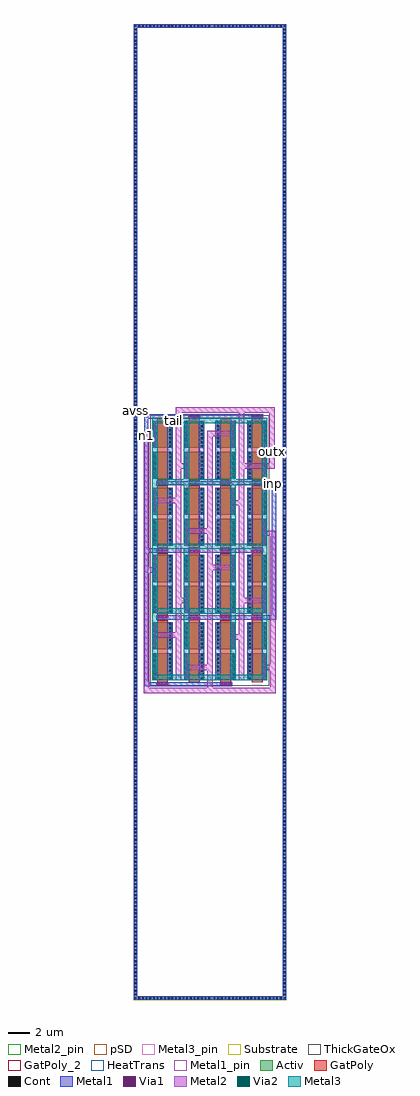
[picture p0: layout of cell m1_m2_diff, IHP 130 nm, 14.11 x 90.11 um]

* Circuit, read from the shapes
.subckt m1_m2_diff avss inn inp n1 outx tail
XM1 n2 inn tail avss sg13_hv_nmos w=2.5u l=1u
XM2 n2 inn outx avss sg13_hv_nmos w=2.5u l=1u
XM3 n3 inp tail avss sg13_hv_nmos w=2.5u l=1u
XM4 n3 inp n1 avss sg13_hv_nmos w=2.5u l=1u
XM5 n4 inn tail avss sg13_hv_nmos w=2.5u l=1u
XM6 n4 inn outx avss sg13_hv_nmos w=2.5u l=1u
XM7 n5 inp tail avss sg13_hv_nmos w=2.5u l=1u
XM8 n5 inp n1 avss sg13_hv_nmos w=2.5u l=1u
XM9 n6 inp n1 avss sg13_hv_nmos w=2.5u l=1u
XM10 n6 inp tail avss sg13_hv_nmos w=2.5u l=1u
XM11 n7 inn outx avss sg13_hv_nmos w=2.5u l=1u
XM12 n7 inn tail avss sg13_hv_nmos w=2.5u l=1u
XM13 n8 inp n1 avss sg13_hv_nmos w=2.5u l=1u
XM14 n8 inp tail avss sg13_hv_nmos w=2.5u l=1u
XM15 n9 inn outx avss sg13_hv_nmos w=2.5u l=1u
XM16 n9 inn tail avss sg13_hv_nmos w=2.5u l=1u
XM17 tail inn n10 avss sg13_hv_nmos w=2.5u l=1u
XM18 outx inn n10 avss sg13_hv_nmos w=2.5u l=1u
XM19 tail inp n11 avss sg13_hv_nmos w=2.5u l=1u
XM20 n1 inp n11 avss sg13_hv_nmos w=2.5u l=1u
XM21 tail inn n12 avss sg13_hv_nmos w=2.5u l=1u
XM22 outx inn n12 avss sg13_hv_nmos w=2.5u l=1u
XM23 tail inp n13 avss sg13_hv_nmos w=2.5u l=1u
XM24 n1 inp n13 avss sg13_hv_nmos w=2.5u l=1u
XM25 outx inn n14 avss sg13_hv_nmos w=2.5u l=1u
XM26 tail inn n14 avss sg13_hv_nmos w=2.5u l=1u
XM27 n1 inp n15 avss sg13_hv_nmos w=2.5u l=1u
XM28 tail inp n15 avss sg13_hv_nmos w=2.5u l=1u
XM29 outx inn n16 avss sg13_hv_nmos w=2.5u l=1u
XM30 tail inn n16 avss sg13_hv_nmos w=2.5u l=1u
XM31 n1 inp n17 avss sg13_hv_nmos w=2.5u l=1u
XM32 tail inp n17 avss sg13_hv_nmos w=2.5u l=1u
.ends

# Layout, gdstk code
from math import pi, radians
import gdstk
lib = gdstk.Library(unit=1e-6, precision=1e-09)
def R(c, l, rs):  # rectangles x0, y0, x1, y1
    for r in rs: c.add(gdstk.rectangle(r[:2], r[2:], *l))
def A(c, l, x, y, w, h, nx, ny, dx, dy):  # array of equal rectangles
    R(c, l, [(x+i*dx, y+j*dy, x+i*dx+w, y+j*dy+h) for i in range(nx) for j in range(ny)])
def P(c, l, *ps):  # polygons
    for p in ps: c.add(gdstk.Polygon(p, *l))
Activ = (1, 0)
GatPoly = (5, 0)
GatPoly_2 = (5, 2)
Cont = (6, 0)
Metal1 = (8, 0)
Metal1_pin = (8, 2)
Metal2 = (10, 0)
Metal2_pin = (10, 2)
pSD = (14, 0)
Via1 = (19, 0)
Via2 = (29, 0)
Metal3 = (30, 0)
Metal3_pin = (30, 2)
Substrate = (40, 0)
ThickGateOx = (44, 0)
HeatTrans = (51, 0)

nmoshv = lib.new_cell('nmosHV')
R(nmoshv, Activ, [(0,0,0.3,0.3), (0,0,1.68,2.5), (1.38,0,1.68,0.3)])
R(nmoshv, GatPoly, [(0.34,-0.18,1.34,2.68)])
R(nmoshv, GatPoly_2, [(0.34,-0.18,1.34,2.68)])
A(nmoshv, Cont, 0.07, 0.07, 0.16, 0.16, 1, 3, 0, 0.365)
A(nmoshv, Cont, 1.45, 0.07, 0.16, 0.16, 1, 3, 0, 0.365)
A(nmoshv, Cont, 0.07, 1.17, 0.16, 0.16, 1, 3, 0, 0.365)
A(nmoshv, Cont, 1.45, 1.17, 0.16, 0.16, 1, 3, 0, 0.365)
R(nmoshv, Cont, [(0.07,2.27,0.23,2.43), (1.45,2.27,1.61,2.43)])
R(nmoshv, Metal1, [(0.07,0,0.23,2.5), (1.45,0,1.61,2.5)])
R(nmoshv, Metal1_pin, [(0.07,0,0.23,2.5), (1.45,0,1.61,2.5)])
R(nmoshv, ThickGateOx, [(-0.27,-0.52,1.95,3.02)])
R(nmoshv, HeatTrans, [(0.34,-0.18,1.34,2.68)])
nmoshv.add(gdstk.Label('nmosHV', (0.84,1.25), layer=63, texttype=0))
nmoshv.add(gdstk.Label('nmosHV', (0.84,1.25), layer=51, texttype=0))

via_stack_1 = lib.new_cell('via_stack$1')
R(via_stack_1, Metal1, [(-0.105,-1.17,0.105,1.17)])
R(via_stack_1, Metal2, [(-0.1,-1.17,0.1,1.17)])
A(via_stack_1, Via1, -0.095, -1.12, 0.19, 0.19, 1, 6, 0, 0.41)
A(via_stack_1, Via2, -0.095, -1.12, 0.19, 0.19, 1, 6, 0, 0.41)
R(via_stack_1, Metal3, [(-0.1,-1.17,0.1,1.17)])

via_stack = lib.new_cell('via_stack')
R(via_stack, Metal1, [(-0.105,-1.17,0.105,1.17)])
R(via_stack, Metal2, [(-0.1,-1.17,0.1,1.17)])
A(via_stack, Via1, -0.095, -1.12, 0.19, 0.19, 1, 6, 0, 0.41)

via_stack_2 = lib.new_cell('via_stack$2')
R(via_stack_2, GatPoly, [(-0.49,-0.15,0.49,0.15)])
A(via_stack_2, Cont, -0.42, -0.08, 0.16, 0.16, 3, 1, 0.34, 0)
R(via_stack_2, Metal1, [(-0.555,-0.105,0.555,0.105)])
R(via_stack_2, Metal2, [(-0.555,-0.1,0.555,0.1)])
A(via_stack_2, Via1, -0.505, -0.095, 0.19, 0.19, 3, 1, 0.41, 0)

n1_2 = lib.new_cell('n1_2')
R(n1_2, GatPoly, [(0.34,5.54,0.35,5.84), (1.33,5.54,1.34,5.84)])
R(n1_2, GatPoly_2, [(0.73,2.615,0.86,2.745)])
R(n1_2, Metal1_pin, [(0.085,1.265,0.215,1.395), (0.085,4.05,0.215,4.18)])
n1_2.add(gdstk.FlexPath([(1.53,5.36),(1.53,0)], 0.5, ends="flush", simple_path=True, layer=8, datatype=0))  # Metal1
n1_2.add(gdstk.FlexPath([(0.15,2.86),(0.15,5.36)], 0.5, ends="flush", simple_path=True, layer=8, datatype=0))  # Metal1
n1_2.add(gdstk.FlexPath([(0.15,0),(0.15,2.5)], 0.5, ends="flush", simple_path=True, layer=8, datatype=0))  # Metal1
n1_2.add(gdstk.Reference(nmoshv, (0,2.86)))
n1_2.add(gdstk.Reference(nmoshv, (0,0)))
n1_2.add(gdstk.Reference(via_stack_1, (0.15,4.19)))
n1_2.add(gdstk.Reference(via_stack, (0.155,1.17)))
n1_2.add(gdstk.Reference(via_stack_2, (0.84,5.69), rotation=pi))
n1_2.add(gdstk.Label('D', (0.15,1.33), layer=8, texttype=25))
n1_2.add(gdstk.Label('S', (0.15,4.115), layer=8, texttype=25))
n1_2.add(gdstk.Label('G', (0.795,2.68), layer=5, texttype=1))

m1_m2_array = lib.new_cell('m1_m2_array')
R(m1_m2_array, Metal1, [(7.22,-0.54,7.405,-0.22), (0.02,17.98,0.285,18.38), (3.135,24.18,3.205,24.5)])
R(m1_m2_array, ThickGateOx, [(1.95,-0.52,2.65,24.48), (4.87,-0.52,5.555,24.48), (7.775,-0.52,8.485,24.48)])
m1_m2_array.add(gdstk.FlexPath([(0.285,18.27),(10.15,18.27)], 0.22, ends="flush", simple_path=True, layer=8, datatype=0))  # Metal1
m1_m2_array.add(gdstk.FlexPath([(10.15,18.09),(0.285,18.09)], 0.22, ends="flush", simple_path=True, layer=8, datatype=0))  # Metal1
m1_m2_array.add(gdstk.FlexPath([(0.285,12.07),(10.15,12.07)], 0.22, ends="flush", simple_path=True, layer=8, datatype=0))  # Metal1
m1_m2_array.add(gdstk.FlexPath([(10.15,11.89),(0.285,11.89)], 0.22, ends="flush", simple_path=True, layer=8, datatype=0))  # Metal1
m1_m2_array.add(gdstk.FlexPath([(0.285,5.87),(10.15,5.87)], 0.22, ends="flush", simple_path=True, layer=8, datatype=0))  # Metal1
m1_m2_array.add(gdstk.FlexPath([(10.15,5.69),(0.285,5.69)], 0.22, ends="flush", simple_path=True, layer=8, datatype=0))  # Metal1
m1_m2_array.add(gdstk.FlexPath([(0.29,-0.33),(7.22,-0.33)], 0.22, ends="flush", simple_path=True, layer=8, datatype=0))  # Metal1
m1_m2_array.add(gdstk.FlexPath([(7.22,-0.43),(0.29,-0.43)], 0.22, ends="flush", simple_path=True, layer=8, datatype=0))  # Metal1
m1_m2_array.add(gdstk.FlexPath([(10.15,24.29),(3.205,24.29)], 0.22, ends="flush", simple_path=True, layer=8, datatype=0))  # Metal1
m1_m2_array.add(gdstk.FlexPath([(3.205,24.39),(10.15,24.39)], 0.22, ends="flush", simple_path=True, layer=8, datatype=0))  # Metal1
m1_m2_array.add(gdstk.FlexPath([(0.285,5.77),(-0.71,5.77),(-0.71,18.18),(0.02,18.18)], 0.4, ends="flush", simple_path=True, layer=8, datatype=0))  # Metal1
m1_m2_array.add(gdstk.FlexPath([(7.405,-0.38),(0.29,-0.38)], 0.4, ends="flush", simple_path=True, layer=8, datatype=0))  # Metal1
m1_m2_array.add(gdstk.FlexPath([(7.405,-0.38),(11.085,-0.38),(11.085,24.34),(3.135,24.34)], 0.4, ends="flush", simple_path=True, layer=8, datatype=0))  # Metal1
m1_m2_array.add(gdstk.FlexPath([(0.285,11.98),(11.285,11.98)], 0.4, ends="flush", simple_path=True, layer=8, datatype=0))  # Metal1
m1_m2_array.add(gdstk.FlexPath([(2.3,23.96),(2.3,4.19),(0.26,4.19)], 0.5, ends="flush", simple_path=True, layer=10, datatype=0))  # Metal2
m1_m2_array.add(gdstk.FlexPath([(5.215,23.96),(5.215,1.17),(3.175,1.17)], 0.5, ends="flush", simple_path=True, layer=10, datatype=0))  # Metal2
m1_m2_array.add(gdstk.FlexPath([(8.13,23.96),(8.13,4.19),(7.25,4.19)], 0.5, ends="flush", simple_path=True, layer=10, datatype=0))  # Metal2
m1_m2_array.add(gdstk.FlexPath([(3.17,19.975),(2.05,19.975)], 0.5, ends="flush", simple_path=True, layer=10, datatype=0))  # Metal2
m1_m2_array.add(gdstk.FlexPath([(0.055,22.79),(-0.62,22.79)], 0.5, ends="flush", simple_path=True, layer=10, datatype=0))  # Metal2
m1_m2_array.add(gdstk.FlexPath([(-0.62,23.96),(-0.62,10.39),(0.255,10.39)], 0.5, ends="flush", simple_path=True, layer=10, datatype=0))  # Metal2
m1_m2_array.add(gdstk.FlexPath([(0.26,16.59),(2.3,16.59)], 0.5, ends="flush", simple_path=True, layer=10, datatype=0))  # Metal2
m1_m2_array.add(gdstk.FlexPath([(3.075,13.57),(5.215,13.57)], 0.5, ends="flush", simple_path=True, layer=10, datatype=0))  # Metal2
m1_m2_array.add(gdstk.FlexPath([(7.45,16.59),(8.13,16.59)], 0.5, ends="flush", simple_path=True, layer=10, datatype=0))  # Metal2
m1_m2_array.add(gdstk.FlexPath([(10.185,13.775),(11.085,13.775)], 0.5, ends="flush", simple_path=True, layer=10, datatype=0))  # Metal2
m1_m2_array.add(gdstk.FlexPath([(11.06,23.96),(11.06,1.375),(10.185,1.375)], 0.5, ends="flush", simple_path=True, layer=10, datatype=0))  # Metal2
m1_m2_array.add(gdstk.FlexPath([(3.17,7.575),(2.3,7.575)], 0.5, ends="flush", simple_path=True, layer=10, datatype=0))  # Metal2
m1_m2_array.add(gdstk.FlexPath([(7.445,10.185),(4.965,10.185)], 0.5, ends="flush", simple_path=True, layer=10, datatype=0))  # Metal2
m1_m2_array.add(gdstk.FlexPath([(7.45,22.79),(4.965,22.79)], 0.5, ends="flush", simple_path=True, layer=10, datatype=0))  # Metal2
m1_m2_array.add(gdstk.FlexPath([(10.38,19.77),(8.13,19.77)], 0.5, ends="flush", simple_path=True, layer=10, datatype=0))  # Metal2
m1_m2_array.add(gdstk.FlexPath([(10.38,7.37),(7.88,7.37)], 0.5, ends="flush", simple_path=True, layer=10, datatype=0))  # Metal2
m1_m2_array.add(gdstk.FlexPath([(-0.62,23.96),(-0.62,24.915),(11.06,24.915),(11.06,23.96)], 0.5, ends="flush", simple_path=True, layer=10, datatype=0))  # Metal2
m1_m2_array.add(gdstk.FlexPath([(5.215,23.96),(5.215,24.915)], 0.5, ends="flush", simple_path=True, layer=10, datatype=0))  # Metal2
m1_m2_array.add(gdstk.FlexPath([(8.13,4.19),(8.13,-0.975),(2.3,-0.975),(2.3,4.19)], 0.5, ends="flush", simple_path=True, layer=10, datatype=0))  # Metal2
m1_m2_array.add(gdstk.FlexPath([(0.06,4.19),(-0.535,4.19),(-0.535,-0.975),(2.3,-0.975)], 0.5, ends="flush", simple_path=True, layer=10, datatype=0))  # Metal2
m1_m2_array.add(gdstk.FlexPath([(3.18,13.57),(5.215,13.57)], 0.5, ends="flush", simple_path=True, layer=10, datatype=0))  # Metal2
m1_m2_array.add(gdstk.FlexPath([(0.055,16.59),(2.3,16.59)], 0.5, ends="flush", simple_path=True, layer=10, datatype=0))  # Metal2
m1_m2_array.add(gdstk.FlexPath([(0.15,23.21),(0.15,0)], 0.5, ends="flush", simple_path=True, layer=30, datatype=0))  # Metal3
m1_m2_array.add(gdstk.FlexPath([(3.07,0),(3.07,23.21)], 0.5, ends="flush", simple_path=True, layer=30, datatype=0))  # Metal3
m1_m2_array.add(gdstk.FlexPath([(7.365,23.21),(7.365,0)], 0.5, ends="flush", simple_path=True, layer=30, datatype=0))  # Metal3
m1_m2_array.add(gdstk.FlexPath([(10.54,5.66),(-0.1,5.66)], 0.5, ends="flush", simple_path=True, layer=30, datatype=0))  # Metal3
m1_m2_array.add(gdstk.FlexPath([(-0.1,11.595),(10.54,11.595)], 0.5, ends="flush", simple_path=True, layer=30, datatype=0))  # Metal3
m1_m2_array.add(gdstk.FlexPath([(10.54,17.555),(-0.1,17.555)], 0.5, ends="flush", simple_path=True, layer=30, datatype=0))  # Metal3
m1_m2_array.add(gdstk.FlexPath([(10.285,0),(10.285,23.21)], 0.5, ends="flush", simple_path=True, layer=30, datatype=0))  # Metal3
m1_m2_array.add(gdstk.FlexPath([(10.29,23.71),(10.29,23.71),(-0.1,23.71)], 0.5, ends="flush", simple_path=True, layer=30, datatype=0))  # Metal3
m1_m2_array.add(gdstk.FlexPath([(10.29,0),(10.29,0),(-0.1,0)], 0.5, ends="flush", simple_path=True, layer=30, datatype=0))  # Metal3
m1_m2_array.add(gdstk.FlexPath([(0.155,0),(0.155,23.96)], 0.5, ends="flush", simple_path=True, layer=30, datatype=0))  # Metal3
m1_m2_array.add(gdstk.FlexPath([(10.29,-0.25),(10.29,23.96)], 0.5, ends="flush", simple_path=True, layer=30, datatype=0))  # Metal3
m1_m2_array.add(gdstk.FlexPath([(3.07,0),(3.07,23.96)], 0.5, ends="flush", simple_path=True, layer=30, datatype=0))  # Metal3
m1_m2_array.add(gdstk.FlexPath([(7.365,0),(7.365,23.96)], 0.5, ends="flush", simple_path=True, layer=30, datatype=0))  # Metal3
m1_m2_array.add(gdstk.Reference(n1_2, (0.005,5.36), x_reflection=True))
m1_m2_array.add(gdstk.Reference(n1_2, (2.92,0)))
m1_m2_array.add(gdstk.Reference(n1_2, (10.435,0), rotation=pi, x_reflection=True))
m1_m2_array.add(gdstk.Reference(n1_2, (7.505,5.36), rotation=pi))
m1_m2_array.add(gdstk.Reference(n1_2, (0,11.56), x_reflection=True))
m1_m2_array.add(gdstk.Reference(n1_2, (0,23.96), x_reflection=True))
m1_m2_array.add(gdstk.Reference(n1_2, (2.92,18.6)))
m1_m2_array.add(gdstk.Reference(n1_2, (10.435,18.6), rotation=pi, x_reflection=True))
m1_m2_array.add(gdstk.Reference(n1_2, (7.505,23.96), rotation=pi))
m1_m2_array.add(gdstk.Reference(n1_2, (2.92,6.2)))
m1_m2_array.add(gdstk.Reference(n1_2, (10.435,6.2), rotation=pi, x_reflection=True))
m1_m2_array.add(gdstk.Reference(n1_2, (7.505,11.56), rotation=pi))
m1_m2_array.add(gdstk.Reference(n1_2, (7.505,17.76), rotation=pi))
m1_m2_array.add(gdstk.Reference(n1_2, (10.435,12.4), rotation=pi, x_reflection=True))
m1_m2_array.add(gdstk.Reference(n1_2, (2.92,12.4)))
m1_m2_array.add(gdstk.Reference(n1_2, (0,17.76), x_reflection=True))
m1_m2_array.add(gdstk.Label('A', (9.595,4.11), layer=63, texttype=0))
m1_m2_array.add(gdstk.Label('A', (3.76,4.11), layer=63, texttype=0))
m1_m2_array.add(gdstk.Label('B', (0.84,4.11), layer=63, texttype=0))
m1_m2_array.add(gdstk.Label('B', (6.675,4.11), layer=63, texttype=0))
m1_m2_array.add(gdstk.Label('B', (3.76,10.31), layer=63, texttype=0))
m1_m2_array.add(gdstk.Label('B', (9.595,10.31), layer=63, texttype=0))
m1_m2_array.add(gdstk.Label('B', (6.67,16.51), layer=63, texttype=0))
m1_m2_array.add(gdstk.Label('B', (0.835,16.51), layer=63, texttype=0))
m1_m2_array.add(gdstk.Label('B', (3.75,22.71), layer=63, texttype=0))
m1_m2_array.add(gdstk.Label('B', (9.585,22.71), layer=63, texttype=0))
m1_m2_array.add(gdstk.Label('A', (9.59,16.51), layer=63, texttype=0))
m1_m2_array.add(gdstk.Label('A', (0.84,10.31), layer=63, texttype=0))
m1_m2_array.add(gdstk.Label('A', (6.665,22.71), layer=63, texttype=0))
m1_m2_array.add(gdstk.Label('A', (6.675,10.31), layer=63, texttype=0))
m1_m2_array.add(gdstk.Label('A', (3.755,16.51), layer=63, texttype=0))
m1_m2_array.add(gdstk.Label('A', (0.83,22.71), layer=63, texttype=0))

guard_ring = lib.new_cell('guard_ring')
R(guard_ring, Activ, [(-7.025,-44.725,-6.725,44.725), (6.725,-44.725,7.025,44.725), (-7.025,44.725,7.025,45.025)])
P(guard_ring, Activ, [(-7.025,-45.025),(-7.025,44.725),(-6.725,44.725),(-6.725,-44.725),(6.725,-44.725),(6.725,44.725),(-7.025,44.725),(-7.025,45.025),(7.025,45.025),(7.025,-45.025)])
A(guard_ring, Cont, -6.955, -44.955, 0.16, 0.16, 20, 2, 0.34, 89.75)
A(guard_ring, Cont, -0.005, -44.955, 0.16, 0.16, 21, 2, 0.34, 89.75)
A(guard_ring, Cont, -6.955, -44.615, 0.16, 0.16, 1, 131, 0, 0.34)
A(guard_ring, Cont, 6.795, -44.615, 0.16, 0.16, 1, 131, 0, 0.34)
A(guard_ring, Cont, -6.955, 0.255, 0.16, 0.16, 1, 131, 0, 0.34)
A(guard_ring, Cont, 6.795, 0.255, 0.16, 0.16, 1, 131, 0, 0.34)
R(guard_ring, Metal1, [(-7.025,-45.025,7.025,-44.725), (-7.025,-44.725,-6.725,44.725), (6.725,-44.725,7.025,44.725), (-7.025,44.725,7.025,45.025)])
R(guard_ring, pSD, [(-7.055,-44.695,-6.695,44.695), (6.695,-44.695,7.055,44.695), (-7.055,44.695,7.055,45.055)])
P(guard_ring, pSD, [(-7.055,-45.055),(-7.055,44.695),(-6.695,44.695),(-6.695,-44.695),(6.695,-44.695),(6.695,44.695),(-7.055,44.695),(-7.055,45.055),(7.055,45.055),(7.055,-45.055)])
R(guard_ring, Substrate, [(-7.055,-44.695,-6.695,44.695), (6.695,-44.695,7.055,44.695), (-7.055,44.695,7.055,45.055)])
P(guard_ring, Substrate, [(-7.055,-45.055),(-7.055,44.695),(-6.695,44.695),(-6.695,-44.695),(6.695,-44.695),(6.695,44.695),(-7.055,44.695),(-7.055,45.055),(7.055,45.055),(7.055,-45.055)])
guard_ring.add(gdstk.Label('sub!', (0,-44.875), layer=63, texttype=0))

m1_m2_diff = lib.new_cell('m1_m2_diff')
R(m1_m2_diff, Metal1_pin, [(0.62,-5.855,0.75,-5.725), (-11.09,0.275,-10.96,0.405), (-12.14,0.84,-12.01,0.97)])
R(m1_m2_diff, Metal2_pin, [(0.48,-2.88,0.61,-2.75), (-11.135,-1.435,-11.005,-1.305)])
R(m1_m2_diff, Metal3_pin, [(-8.61,-0.02,-8.48,0.11)])
m1_m2_diff.add(gdstk.Reference(m1_m2_array, (0,0), rotation=pi))
m1_m2_diff.add(gdstk.Reference(guard_ring, (-5.205,-8.43), rotation=pi))
m1_m2_diff.add(gdstk.Label('avss', (-12.075,0.905), layer=8, texttype=25))
m1_m2_diff.add(gdstk.Label('inp', (0.685,-5.79), layer=8, texttype=25))
m1_m2_diff.add(gdstk.Label('inn', (-11.025,0.34), layer=8, texttype=25))
m1_m2_diff.add(gdstk.Label('tail', (-8.545,0.045), layer=30, texttype=25))
m1_m2_diff.add(gdstk.Label('n1', (-11.07,-1.37), layer=10, texttype=25))
m1_m2_diff.add(gdstk.Label('outx', (0.545,-2.815), layer=10, texttype=25))

lib.write_gds('m1_m2_diff.gds')
